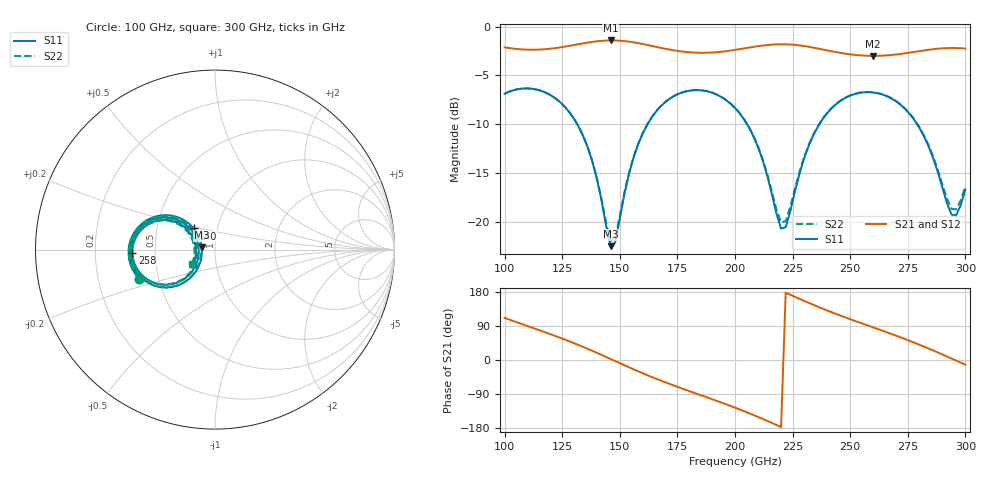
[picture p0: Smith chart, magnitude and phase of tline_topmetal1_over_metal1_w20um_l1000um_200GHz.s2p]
#  GHZ S DB R 50
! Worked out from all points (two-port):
!   101 points, 100 GHz to 300 GHz, reference 50 ohm
!   highest |S21| = -1.42 dB at 146 GHz (marker M1); lowest = -3.0 dB at 260 GHz (marker M2)
!   |S21| within 3 dB of the highest: start of sweep to end of sweep
!   lowest |S11| = -22.5 dB at 146 GHz (marker M3), VSWR 1.16, Z = 43.1 + j1.05 ohm
!   |S11| at or under -10 dB: 131.5 GHz to 162.1 GHz (30.62 GHz wide, 20.9 % of centre); 205.2 GHz to 236.7 GHz (31.53 GHz wide, 14.3 % of centre); 279 GHz to end of sweep
!   |S22| runs from -22.0 to -6.3 dB; largest |S21 - S12| = 1.3e-13
!   S11 on the Smith chart (normalised r, x): 100 GHz: 0.39, -0.16; 140 GHz: 0.77, +0.19; 258 GHz: 0.37, -0.02; 300 GHz: 0.77, -0.13
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100  -6.89 -159.1  -2.12 111.1  -2.12 111.1  -6.89 -158.8
116  -6.60 170.9  -2.35 76.6  -2.35 76.6  -6.60 171.4
126  -8.19 152.4  -2.06 54.3  -2.06 54.3  -8.18 153.2
134  -11.18 139.0  -1.72 34.8  -1.72 34.8  -11.16 140.2
140  -15.57 135.1  -1.51 19.0  -1.51 19.0  -15.48 136.9
146  -22.53 170.7  -1.42 2.7  -1.42 2.7  -22.01 172.1
148  -22.16 -159.9  -1.42 -2.8  -1.42 -2.8  -21.66 -160.5
158  -12.06 -132.9  -1.70 -29.9  -1.70 -29.9  -12.00 -133.5
168  -8.12 -149.3  -2.19 -54.8  -2.19 -54.8  -8.10 -149.3
184  -6.52 -178.2  -2.68 -90.3  -2.68 -90.3  -6.51 -177.9
200  -8.35 153.8  -2.39 -125.7  -2.39 -125.7  -8.33 154.7
210  -12.37 140.1  -2.01 -150.3  -2.01 -150.3  -12.29 141.7
220  -20.72 172.2  -1.81 -177.0  -1.81 -177.0  -20.09 173.5
222  -20.59 -165.5  -1.81 177.6  -1.81 177.6  -19.96 -166.2
234  -11.16 -138.5  -2.16 145.6  -2.16 145.6  -11.07 -139.5
246  -7.58 -157.3  -2.70 116.7  -2.70 116.7  -7.55 -157.6
258  -6.73 -177.9  -3.00 90.3  -3.00 90.3  -6.70 -177.8
260  -6.76 178.7  -3.00 86.0  -3.00 86.0  -6.73 178.9
268  -7.39 165.3  -2.91 68.5  -2.91 68.5  -7.36 165.7
282  -11.24 145.2  -2.45 35.4  -2.45 35.4  -11.16 146.4
294  -19.29 172.2  -2.19 3.8  -2.19 3.8  -18.70 173.0
300  -16.70 -146.0  -2.25 -12.4  -2.25 -12.4  -16.36 -148.1
